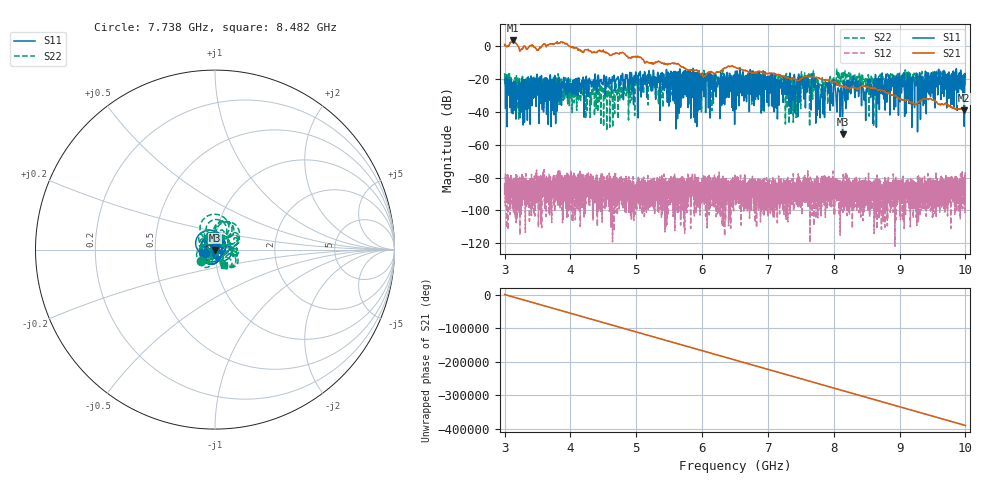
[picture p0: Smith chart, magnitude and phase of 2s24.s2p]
!Agilent Technologies,E8363B,MY43030572,A.06.04.32
!Agilent E8363B: A.06.04.32
!Date: Monday, June 06, 2011 14:34:36
!Correction: S11(Full 2 Port(1,2)) S21(Full 2 Port(1,2)) S12(Full 2 Port(1,2)) S22(Full 2 Port(1,2))
!S2P File: Measurements: S11, S21, S12, S22:
# Hz S  dB  R 50
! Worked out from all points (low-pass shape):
!   6401 points, 3 GHz to 10 GHz, reference 50 ohm
!   highest |S21| = 3.39 dB at 3.12 GHz (marker M1); lowest = -39.1 dB at 9.976 GHz (marker M2)
!   |S21| within 3 dB of the highest: 3.071 GHz to 3.195 GHz (124.4 MHz wide, 3.97 % of centre); 3.642 GHz to 3.965 GHz (323 MHz wide, 8.49 % of centre)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
!   lowest |S11| = -53.7 dB at 8.134 GHz (marker M3), VSWR 1.00, Z = 49.9 - j0.169 ohm
!   |S11| at or under -10 dB: start of sweep to end of sweep
!   |S22| runs from -51.5 to -14.1 dB; largest |S21 - S12| = 1.5
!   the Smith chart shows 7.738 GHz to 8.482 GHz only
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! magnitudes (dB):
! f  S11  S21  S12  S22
! 3 GHz  -20.8  0.9  -83.5  -16.5
! 3.12 GHz  -24.4  3.4  -82.3  -23.5
! 4.167 GHz  -22.5  -2.9  -89.9  -24.3
! 4.284 GHz  -20.2  -3.0  -80.3  -24.1
! 4.354 GHz  -21.8  -3.4  -95.6  -20.9
! 4.648 GHz  -21.3  -4.8  -87.9  -29.1
! 5.131 GHz  -16.2  -10.2  -96.9  -19.4
! 5.334 GHz  -19.3  -9.1  -86.0  -30.2
! 6.027 GHz  -25.5  -18.7  -84.3  -14.8
! 6.5 GHz  -19.1  -12.8  -78.6  -21.7
! 7.052 GHz  -22.7  -16.5  -89.9  -18.1
! 7.352 GHz  -28.8  -19.8  -83.7  -20.7
! 7.667 GHz  -17.8  -18.9  -82.5  -18.8
! 7.761 GHz  -22.3  -19.5  -83.1  -21.2
! 7.904 GHz  -26.7  -20.7  -87.6  -28.7
! 8.134 GHz  -53.7  -24.4  -86.0  -22.5
! 8.275 GHz  -22.6  -24.9  -94.4  -19.6
! 8.455 GHz  -27.4  -24.3  -83.8  -21.5
! 8.543 GHz  -20.2  -25.3  -93.7  -23.5
! 8.834 GHz  -19.3  -28.5  -95.4  -20.7
! 9.976 GHz  -20.0  -39.1  -96.9  -17.6
! 10 GHz  -19.2  -38.0  -85.9  -19.4
